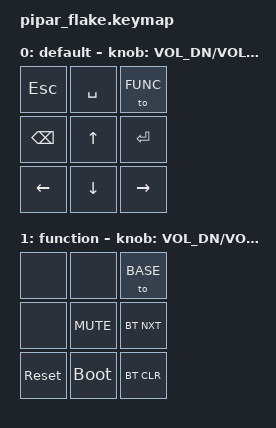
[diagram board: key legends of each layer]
#include <behaviors.dtsi>
#include <dt-bindings/zmk/keys.h>
#include <dt-bindings/zmk/bt.h>
#include <dt-bindings/zmk/outputs.h>

#define BASE 0
#define FUNC 1

/ {
    /* Generic VIA matrix adapter for this 3x3 keyboard. */
    via_matrix: via_matrix {
        compatible = "zmk,via-matrix";
        rows = <3>;
        columns = <3>;
        map = <0 1 2 3 4 5 6 7 8>;
    };

    behaviors {
        via_encoder: via_encoder {
            compatible = "zmk,via-encoder";
            #binding-cells = <1>;
            #sensor-binding-cells = <2>;
        };
        via_macro: via_macro {
            compatible = "zmk,via-macro";
            #binding-cells = <1>;
        };
        via_compat: via_compat {
            compatible = "zmk,via-compat";
            #binding-cells = <2>;
        };
    };

    sensors: sensors {
        compatible = "zmk,keymap-sensors";
        sensors = <&encoder_1>;
        triggers-per-rotation = <20>;
    };

    keymap {
        compatible = "zmk,keymap";

        default_layer {
            display-name = "default";
            bindings = <
                &kp ESC  &kp SPACE  &to FUNC
                &kp BSPC &kp UP     &kp ENTER
                &kp LEFT &kp DOWN   &kp RIGHT
            >;
            sensor-bindings = <&inc_dec_kp C_VOL_DN C_VOL_UP>;
        };

        function_layer {
            display-name = "function";
            bindings = <
                &none       &none       &to BASE
                &none       &kp C_MUTE  &bt BT_NXT
                &sys_reset  &bootloader &bt BT_CLR
            >;
            sensor-bindings = <&inc_dec_kp C_VOL_DN C_VOL_UP>;
        };
    };
};
